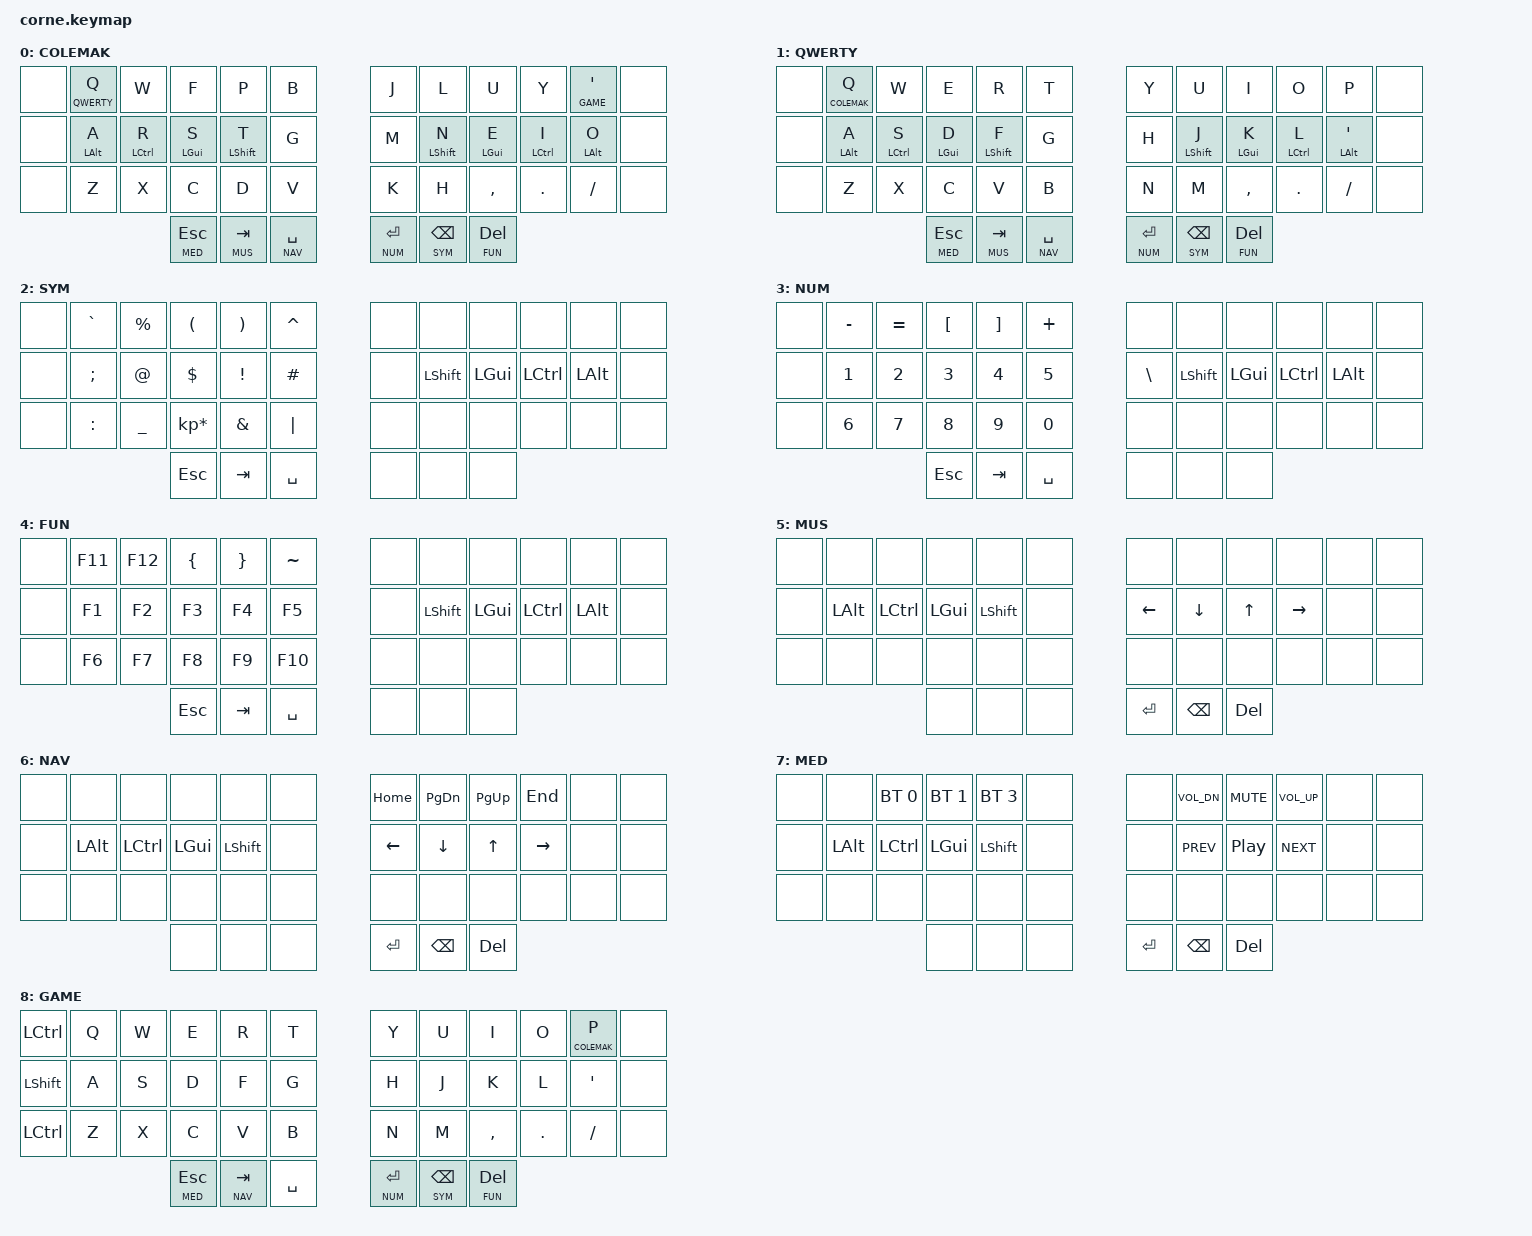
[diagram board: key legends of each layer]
/*
 * Copyright (c) 2020 The ZMK Contributors
 *
 * SPDX-License-Identifier: MIT
 */

#include <behaviors.dtsi>
#include <dt-bindings/zmk/keys.h>
#include <dt-bindings/zmk/bt.h>

#define COLEMAK 0
#define QWERTY  1
#define SYM     2
#define NUM     3
#define FUN     4
#define MUS     5
#define NAV     6
#define MED     7
#define GAME    8


/ {
        keymap {
                compatible = "zmk,keymap";

                COLEMAK {
// -----------------------------------------------------------------------------------------
// |      |  Q  |  W  |  F  |  P  |  B  |   |  J  |  L   |  U  |  Y  |  '  |      |
// |      |  A  |  R  |  S  |  T  |  G  |   |  M  |  N   |  E  |  I  |  O  |      |
// |      |  Z  |  X  |  C  |  D  |  V  |   |  K  |  H   |  ,  |  .  |  /  |      |
//                    | ESC | SPC | TAB |   | BCK | RET  | DEL |
                        bindings = <
   &none     &hto QWERTY Q &kp W             &kp F       &kp P         &kp B           &kp J        &kp L       &kp U       &kp Y            &hto GAME SQT &none
   &none     &mt_ LALT A    &mt_ LCTRL R       &mt_ LGUI S  &mt_ LSHFT T   &kp G           &kp M        &mt_ LSHFT N &mt_ LGUI E  &mt_ LCTRL I      &mt_ LALT O    &none
   &none     &kp         Z &kp X             &kp C       &kp D         &kp V           &kp K        &kp H       &kp COMMA   &kp DOT          &kp FSLH      &none
                                             &lt MED ESC &lt MUS TAB   &lt NAV SPACE   &lt NUM RET  &lt SYM BKSP &lt FUN DEL
                        >;
                };
                QWERTY {
// -----------------------------------------------------------------------------------------
// |      |  Q  |  W  |  E  |  R  |  T  |   |  Y  |  U   |  I  |  O  |  P  |      |
// |      |  A  |  S  |  D  |  F  |  G  |   |  H  |  J   |  K  |  L  |  '  |      |
// |      |  Z  |  X  |  C  |  V  |  B  |   |  N  |  M   |  ,  |  .  |  /  |      |
//                    | ESC | SPC | TAB |   | BCK | RET  | DEL |
                        bindings = <
   &none     &hto COLEMAK Q &kp W       &kp E       &kp R         &kp T         &kp Y        &kp U       &kp I          &kp O         &kp P         &none
   &none     &mt_ LALT A     &mt_ LCTRL S &mt_ LGUI D  &mt_ LSHFT F   &kp G         &kp H        &mt_ LSHFT J &mt_ LGUI K     &mt_ LCTRL L   &mt_ LALT SQT  &none
   &none     &kp Z          &kp X       &kp C       &kp V         &kp B         &kp N        &kp M       &kp COMMA      &kp DOT       &kp FSLH      &none
                                        &lt MED ESC &lt MUS TAB   &lt NAV SPACE &lt NUM RET &lt SYM BKSP &lt FUN DEL
                        >;
                };
                SYM {
// -----------------------------------------------------------------------------------------
// |     |  `  |  %  |  (  |  )  |  ^  | |     | |      |      |      |     |      |      |
// |     |  ;  |  @  |  $  |  !  |  #  | |     | |      | SHFT | META | CTR | ALT  |      |
// |     |  :  |  _  |  *  |  &  |  |  | |     | |      |      |      |     |      |      |
//                   | ESC | SPC | TAB | |     | |      |      |      |
                        bindings = <
   &none   &kp GRAVE  &kp PRCNT    &kp LPAR        &kp RPAR       &kp CARET       &none &none     &none    &none     &none    &none
   &none   &kp SEMI   &kp AT       &kp DLLR        &kp EXCL       &kp HASH        &none &kp LSHFT &kp LGUI &kp LCTRL &kp LALT &none
   &none   &kp COLON  &kp UNDER    &kp KP_MULTIPLY &kp AMPS       &kp PIPE        &none &none     &none    &none     &none    &none
                                   &kp ESC         &kp TAB        &kp SPACE       &none &none     &none
                        >;
                };
                NUM {
// -----------------------------------------------------------------------------------------
// |     |  -  |  =  |  [  |  ]  |  +  | |     | |      |      |      |     |      |      |
// |     |  1  |  2  |  3  |  4  |  5  | |     | |  \   | SHFT | META | CTR | ALT  |      |
// |     |  6  |  7  |  8  |  9  |  0  | |     | |      |      |      |     |      |      |
//                   | ESC | SPC | TAB | |     | |      |      |      |
                        bindings = <
   &none  &kp MINUS &kp EQUAL    &kp LBKT        &kp RBKT       &kp PLUS      &none    &none     &none    &none     &none    &none
   &none  &kp N1    &kp N2       &kp N3          &kp N4         &kp N5        &kp BSLH &kp LSHFT &kp LGUI &kp LCTRL &kp LALT &none
   &none  &kp N6    &kp N7       &kp N8          &kp N9         &kp N0        &none    &none     &none    &none     &none    &none
                                 &kp ESC         &kp TAB        &kp SPACE      &none    &none     &none
                        >;
                };
                FUN {
// -----------------------------------------------------------------------------------------
// |     | F11 | F12 |  {  |  }  |  ~  | |     | |      |      |      |     |      |      |
// |     | F1  | F2  | F3  | F4  | F5  | |     | |      | SHFT | META | CTR | ALT  |      |
// |     | F6  | F7  | F8  | F9  | F10 | |     | |      |      |      |     |      |      |
//                   | ESC | SPC | TAB | |     | |      |      |      |
                        bindings = <
   &none   &kp F11   &kp F12      &kp LBRC        &kp RBRC       &kp TILDE     &none &none     &none    &none     &none    &none
   &none   &kp F1    &kp F2       &kp F3          &kp F4         &kp F5        &none &kp LSHFT &kp LGUI &kp LCTRL &kp LALT &none
   &none   &kp F6    &kp F7       &kp F8          &kp F9         &kp F10       &none &none     &none    &none     &none    &none
                                  &kp ESC         &kp TAB        &kp SPACE     &none &none     &none
                        >;
                };
                MUS {
// -----------------------------------------------------------------------------------------
// |     |     |     |      |      |     | |     | |      |      |      |     |      |      |
// |     | ALT | CTR | META | SHFT |     | |     | | ML   | MD   | MU   | MR  |      |      |
// |     |     |     |      |      |     | |     | | DL   | DD   | DU   | DR  |      |      |
//                   |      |      |     | |     | | BKSP | RET  | DEL  |
                        bindings = <
   &none    &none    &none     &none    &none     &none         &none           &none        &none       &none       &none    &none
   &none    &kp LALT &kp LCTRL &kp LGUI &kp LSHFT &none         &kp LEFT        &kp DOWN     &kp UP      &kp RIGHT   &none    &none
   &none    &none   &none     &none    &none     &none         &none           &none        &none       &none       &none    &none
                               &none    &none     &none         &kp RET      &kp BKSP        &kp DEL
                        >;
                };
                NAV {
// -----------------------------------------------------------------------------------------
// |     |     |     |      |      |     | |     | | HOME | PGDN | PGUP | END |      |      |
// |     | ALT | CTR | META | SHFT |     | |     | | LEFT | DOWN | UP   | RHT |      |      |
// |     |     |     |      |      |     | |     | |      |      |      |     |      |      |
//                   |      |      |     | |     | | BKSP | RET  | DEL  |
                              bindings = <
   &none &none    &none     &none    &none     &none         &kp HOME        &kp PG_DN    &kp PG_UP   &kp END     &none     &none
   &none &kp LALT &kp LCTRL &kp LGUI &kp LSHFT &none         &kp LEFT        &kp DOWN     &kp UP      &kp RIGHT   &none     &none
   &none &none    &none     &none    &none     &none         &none           &none        &none       &none       &none     &none
                            &none    &none     &none         &kp RET      &kp BKSP        &kp DEL
                        >;
                };
                MED {
// -----------------------------------------------------------------------------------------
// |     |     | BT1 | BT2  | BT3  |     | |     | |      | VOLD | MUTE | VOLU |      |      |
// |     | ALT | CTR | META | SHFT |     | |     | |      | PREV | PP   | NEXT |      |      |
// |     |     |     |      |      |     | |     | |      |      |      |      |      |      |
//                   |      |      |     | |     | | BKSP | RET  | DEL  |
                        bindings = <
   &none   &none        &bt BT_SEL 0 &bt BT_SEL 1 &bt BT_SEL 3 &none         &none           &kp C_VOL_DN &kp C_MUTE  &kp C_VOL_UP &none     &none
   &none   &kp LALT     &kp LCTRL    &kp LGUI     &kp LSHFT    &none         &none           &kp C_PREV   &kp C_PP    &kp C_NEXT   &none     &none
   &none   &none        &none        &none        &none        &none         &none           &none        &none       &none        &none     &none
                                     &none        &none        &none         &kp RET      &kp BKSP        &kp DEL
                        >;
                };
                GAME {
// -----------------------------------------------------------------------------------------
// |      |  Q  |  W  |  E  |  R  |  T  |   |  Y  |  U   |  I  |  O  |  P  |      |
// |      |  A  |  S  |  D  |  F  |  G  |   |  H  |  J   |  K  |  L  |  '  |      |
// |      |  Z  |  X  |  C  |  V  |  B  |   |  N  |  M   |  ,  |  .  |  /  |      |
//                    | ESC | SPC | TAB |   | BCK | RET  | DEL |
                        bindings = <
   &kp LCTRL &kp Q          &kp W       &kp E       &kp R         &kp T         &kp Y        &kp U       &kp I          &kp O         &hto COLEMAK P &none
   &kp LSHFT &kp A          &kp S       &kp D       &kp F         &kp G         &kp H        &kp J       &kp K          &kp L         &kp SQT        &none
   &kp LCTRL &kp Z          &kp X       &kp C       &kp V         &kp B         &kp N        &kp M       &kp COMMA      &kp DOT       &kp FSLH       &none
                                        &lt MED ESC &lt NAV TAB   &kp SPACE     &lt NUM RET  &lt SYM BKSP &lt FUN DEL
                        >;
                };
        };
        behaviors {
                hto: hold_to {
                        compatible = "zmk,behavior-hold-tap";
                        label = "HOLD TO";
                        #binding-cells = <2>;
                        tapping_term_ms = <350>;
                        flavor = "tap-preferred";
                        bindings = <&to>, <&kp>;
                };
                mt_: custom_mod_tap {
                        compatible = "zmk,behavior-hold-tap";
                        label = "MOD_TAP";
                        #binding-cells = <2>;
                        flavor = "balanced";
                        tapping-term-ms = <200>;
                        quick_tap_ms = <500>;
                        bindings = <&kp>, <&kp>;
               };
        };
};
